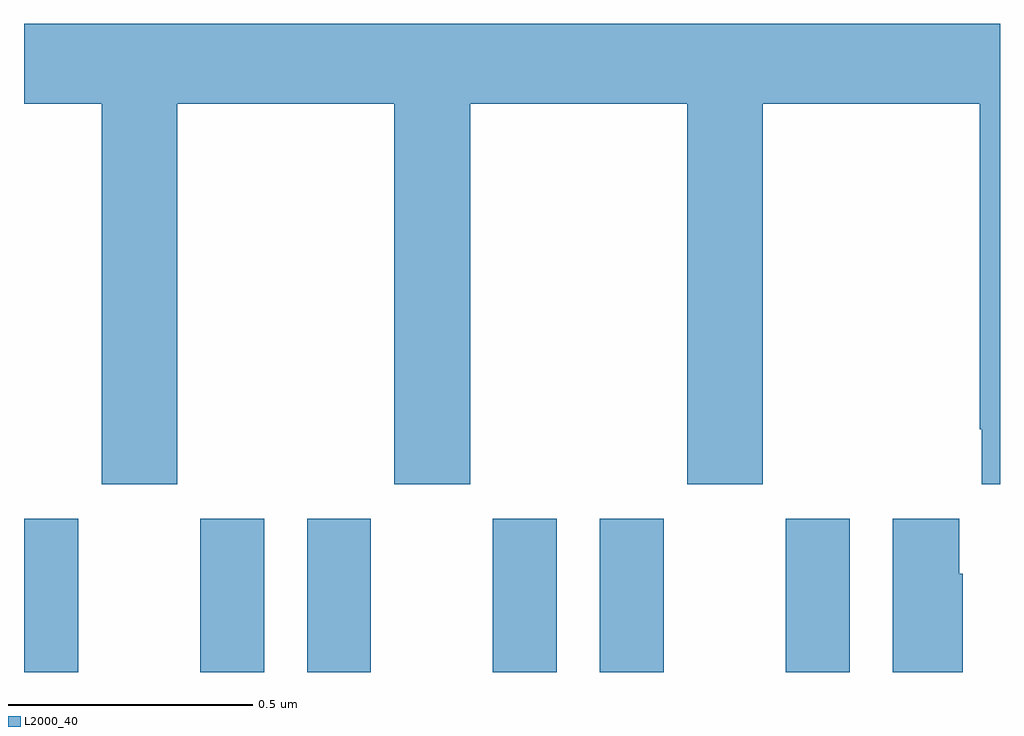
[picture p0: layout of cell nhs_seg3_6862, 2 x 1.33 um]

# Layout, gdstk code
import gdstk
lib = gdstk.Library(unit=1e-6, precision=1e-09)
def R(c, l, rs):  # rectangles x0, y0, x1, y1
    for r in rs: c.add(gdstk.rectangle(r[:2], r[2:], *l))
def P(c, l, *ps):  # polygons
    for p in ps: c.add(gdstk.Polygon(p, *l))
L2000_40 = (2000, 40)

nhs_seg3_6862 = lib.new_cell('nhs_seg3_6862')
R(nhs_seg3_6862, L2000_40, [(196,718.4,196.111,718.714), (196.361,718.4,196.492,718.714), (196.58,718.4,196.711,718.714), (196.961,718.4,197.092,718.714), (197.18,718.4,197.311,718.714), (197.561,718.4,197.692,718.714)])
P(nhs_seg3_6862, L2000_40, [(196.314,719.564),(196.759,719.564),(196.759,718.785),(196.914,718.785),(196.914,719.564),(197.359,719.564),(197.359,718.785),(197.514,718.785),(197.514,719.564),(197.959,719.564),(197.959,718.897),(197.963,718.897),(197.963,718.785),(198,718.785),(198,719.728),(196,719.728),(196,719.564),(196.159,719.564),(196.159,718.785),(196.314,718.785)],
  [(197.924,718.601),(197.917,718.601),(197.917,718.714),(197.78,718.714),(197.78,718.4),(197.924,718.4)])

lib.write_gds('nhs_seg3_6862.gds')
